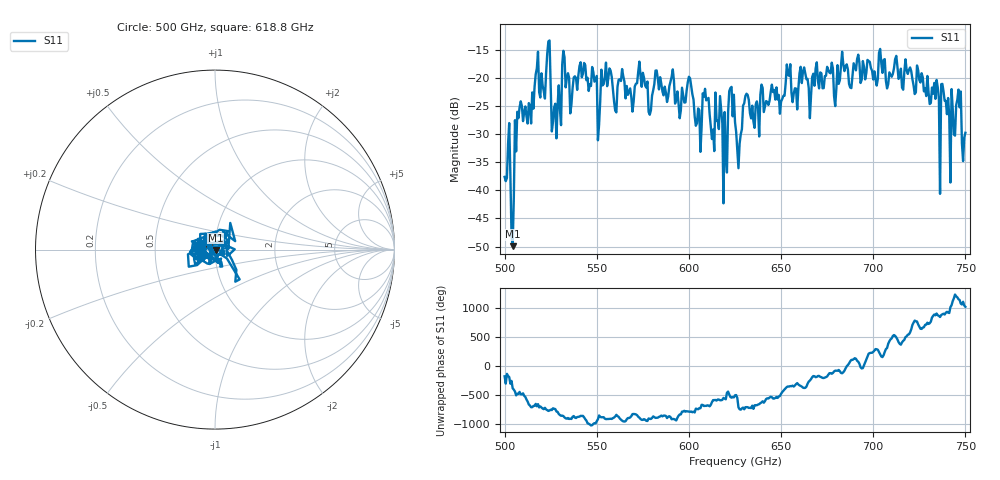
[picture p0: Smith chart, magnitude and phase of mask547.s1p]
!Created with skrf (http://scikit-rf.org).
# GHz S MA R 50.0
!freq magS11 angS11
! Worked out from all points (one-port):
!   401 points, 500 GHz to 750 GHz, reference 50 ohm
!   lowest |S11| = -49.9 dB at 504.4 GHz (marker M1), VSWR 1.01, Z = 50.3 - j0.134 ohm
!   |S11| at or under -10 dB: start of sweep to end of sweep
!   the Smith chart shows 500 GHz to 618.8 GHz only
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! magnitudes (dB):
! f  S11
! 500 GHz  -37.6
! 501.9 GHz  -31.8
! 504.4 GHz  -49.9
! 508.1 GHz  -25.2
! 523.8 GHz  -13.5
! 526.9 GHz  -25.3
! 531.2 GHz  -17.6
! 548.8 GHz  -20.7
! 551.9 GHz  -24.1
! 553.8 GHz  -21.1
! 562.5 GHz  -20.2
! 593.8 GHz  -22.4
! 600.6 GHz  -20.1
! 605.6 GHz  -25.7
! 609.4 GHz  -24.0
! 619.4 GHz  -26.1
! 623.1 GHz  -21.6
! 625 GHz  -27.8
! 627.5 GHz  -31.7
! 630.6 GHz  -23.2
! 656.2 GHz  -24.3
! 687.5 GHz  -21.7
! 718.8 GHz  -19.3
! 735 GHz  -21.7
! 738.1 GHz  -22.4
! 743.1 GHz  -25.5
! 746.2 GHz  -22.1
! 750 GHz  -29.8
